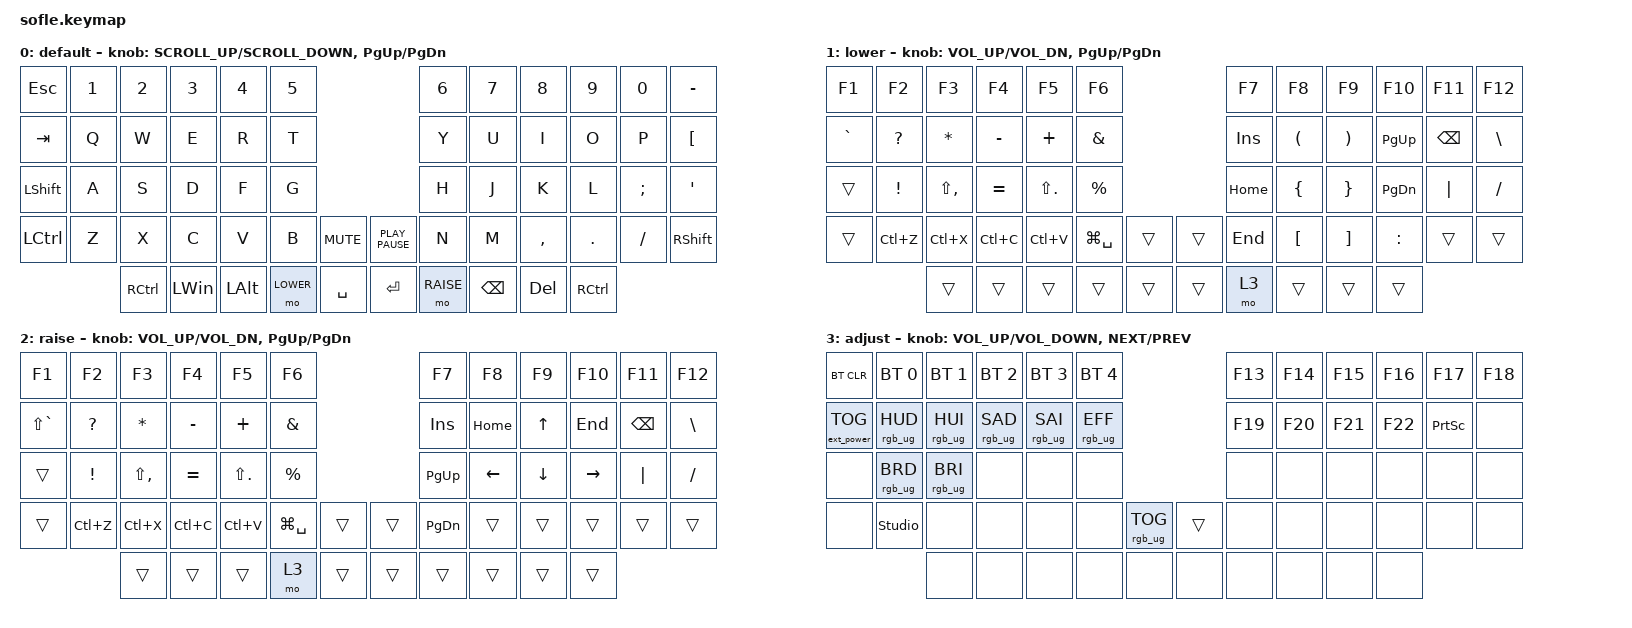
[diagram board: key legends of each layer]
/*
 * Copyright (c) 2020 The ZMK Contributors
 *
 * SPDX-License-Identifier: MIT
 */

#include <behaviors.dtsi>
#include <dt-bindings/zmk/bt.h>
#include <dt-bindings/zmk/ext_power.h>
#include <dt-bindings/zmk/keys.h>
#include <dt-bindings/zmk/rgb.h>

#define BASE 0
#define LOWER 1
#define RAISE 2
#define ADJUST 3

/ {
    // Activate ADJUST layer by pressing raise and lower

    conditional_layers {
        compatible = "zmk,conditional-layers";

        adjust_layer {
            if-layers = <LOWER RAISE>;
            then-layer = <ADJUST>;
        };
    };

    keymap {
        compatible = "zmk,keymap";

        default_layer {
            display-name = "default";

            // ------------------------------------------------------------------------------------------------------------
            // |   `   |  1  |  2  |  3   |  4   |  5   |                   |  6   |  7    |  8    |  9   |   0   |       |
            // |  ESC  |  Q  |  W  |  E   |  R   |  T   |                   |  Y   |  U    |  I    |  O   |   P   | BKSPC |
            // |  TAB  |  A  |  S  |  D   |  F   |  G   |                   |  H   |  J    |  K    |  L   |   ;   |   '   |
            // | SHIFT |  Z  |  X  |  C   |  V   |  B   |  MUTE  |  |       |  N   |  M    |  ,    |  .   |   /   | SHIFT |
            //               | GUI | ALT  | CTRL | LOWER|  ENTER |  | SPACE | RAISE| CTRL  | ALT   | GUI  |

            bindings = <
&kp ESCAPE      &kp N1  &kp N2     &kp N3        &kp N4    &kp N5                                     &kp N6     &kp N7         &kp N8      &kp N9             &kp N0    &kp MINUS
&kp TAB         &kp Q   &kp W      &kp E         &kp R     &kp T                                      &kp Y      &kp U          &kp I       &kp O              &kp P     &kp LEFT_BRACKET
&kp LEFT_SHIFT  &kp A   &kp S      &kp D         &kp F     &kp G                                      &kp H      &kp J          &kp K       &kp L              &kp SEMI  &kp SQT
&kp LCTRL       &kp Z   &kp X      &kp C         &kp V     &kp B      &kp C_MUTE    &kp K_PLAY_PAUSE  &kp N      &kp M          &kp COMMA   &kp DOT            &kp FSLH  &kp RSHFT
                        &kp RCTRL  &kp LEFT_WIN  &kp LALT  &mo LOWER  &kp SPACE     &kp ENTER         &mo RAISE  &kp BACKSPACE  &kp DELETE  &kp RIGHT_CONTROL
            >;

            sensor-bindings =
                <&inc_dec_kp K_SCROLL_UP K_SCROLL_DOWN>,
                <&inc_dec_kp PG_UP PG_DN>;
        };

        lower_layer {
            display-name = "lower";

            // TODO: Some binds are waiting for shifted keycode support.
            // ------------------------------------------------------------------------------------------------------------
            // |       |  F1 |  F2 |  F3  |  F4  |  F5  |                   |  F6  |  F7   |  F8   |  F9  |  F10  |  F11  |
            // |   `   |  1  |  2  |  3   |  4   |  5   |                   |  6   |  7    |  8    |  9   |   0   |  F12  |
            // |       |  !  |  @  |  #   |  $   |  %   |                   |  ^   |  &    |  *    |  (   |   )   |   |   |
            // |       |  =  |  -  |  +   |  {   |  }   |        |  |       |  [   |  ]    |  ;    |  :   |   \   |       |
            //               |     |      |      |      |        |  |       |      |       |       |      |

            bindings = <
&kp F1     &kp F2        &kp F3         &kp F4     &kp F5       &kp F6                           &kp F7      &kp F8          &kp F9    &kp F10        &kp F11        &kp F12
&kp GRAVE  &kp QUESTION  &kp ASTRK      &kp MINUS  &kp PLUS     &kp AMPERSAND                    &kp INSERT  &kp LPAR        &kp RPAR  &kp PAGE_UP    &kp BACKSPACE  &kp BSLH
&trans     &kp EXCL      &kp LS(COMMA)  &kp EQUAL  &kp LS(DOT)  &kp PRCNT                        &kp HOME    &kp LEFT_BRACE  &kp RBRC  &kp PAGE_DOWN  &kp PIPE       &kp SLASH
&trans     &kp LC(Z)     &kp LC(X)      &kp LC(C)  &kp LC(V)    &kp LG(SPACE)  &trans    &trans  &kp END     &kp LBKT        &kp RBKT  &kp COLON      &trans         &trans
                         &trans         &trans     &trans       &trans         &trans    &trans  &mo 3       &trans          &trans    &trans
            >;

            sensor-bindings = <&inc_dec_kp C_VOL_UP C_VOL_DN &inc_dec_kp PG_UP PG_DN>;
        };

        raise_layer {
            display-name = "raise";

            // ------------------------------------------------------------------------------------------------------------
            // | BTCLR | BT1  | BT2  |  BT3  |  BT4  |  BT5 |                |      |      |       |      |       |       |
            // |       | INS  | PSCR | GUI   |       |      |                | PGUP |      |   ^   |      |       |       |
            // |       | ALT  | CTRL | SHIFT |       | CAPS |                | PGDN |   <- |   v   |  ->  |  DEL  | BKSPC |
            // |       | UNDO | CUT  | COPY  | PASTE |      |      |  |      |      |      |       |      |       |       |
            //                |      |       |       |      |      |  |      |      |      |       |      |

            bindings = <
&kp F1         &kp F2           &kp F3         &kp F4     &kp F5       &kp F6                           &kp F7         &kp F8    &kp F9    &kp F10    &kp F11        &kp F12
&kp LS(GRAVE)  &kp QUESTION     &kp ASTRK      &kp MINUS  &kp PLUS     &kp AMPERSAND                    &kp INS        &kp HOME  &kp UP    &kp END    &kp BACKSPACE  &kp BACKSLASH
&trans         &kp EXCLAMATION  &kp LS(COMMA)  &kp EQUAL  &kp LS(DOT)  &kp PERCENT                      &kp PAGE_UP    &kp LEFT  &kp DOWN  &kp RIGHT  &kp PIPE       &kp SLASH
&trans         &kp LC(Z)        &kp LC(X)      &kp LC(C)  &kp LC(V)    &kp LG(SPACE)  &trans    &trans  &kp PAGE_DOWN  &trans    &trans    &trans     &trans         &trans
                                &trans         &trans     &trans       &mo 3          &trans    &trans  &trans         &trans    &trans    &trans
            >;

            sensor-bindings = <&inc_dec_kp C_VOL_UP C_VOL_DN &inc_dec_kp PG_UP PG_DN>;
        };

        adjust_layer {
            // ----------------------------------------------------------------------------------------------------------------------------
            // | BTCLR  |  BT1    |  BT2    |   BT3   |   BT4   |   BT5   |                  |      |      |       |      |       |       |
            // | EXTPWR | RGB_HUD | RGB_HUI | RGB_SAD | RGB_SAI | RGB_EFF |                  |      |      |       |      |       |       |
            // |        | RGB_BRD | RGB_BRI |         |         |         |                  |      |      |       |      |       |       |
            // |        |         |         |         |         |         | RGB_TOG | |      |      |      |       |      |       |       |
            //                    |         |         |         |         |         | |      |      |      |       |      |

            display-name = "adjust";
            bindings = <
&bt BT_CLR         &bt BT_SEL 0     &bt BT_SEL 1     &bt BT_SEL 2     &bt BT_SEL 3     &bt BT_SEL 4                                &kp F13  &kp F14  &kp F15  &kp F16  &kp F17          &kp F18
&ext_power EP_TOG  &rgb_ug RGB_HUD  &rgb_ug RGB_HUI  &rgb_ug RGB_SAD  &rgb_ug RGB_SAI  &rgb_ug RGB_EFF                             &kp F19  &kp F20  &kp F21  &kp F22  &kp PRINTSCREEN  &none
&none              &rgb_ug RGB_BRD  &rgb_ug RGB_BRI  &none            &none            &none                                       &none    &none    &none    &none    &none            &none
&none              &studio_unlock   &none            &none            &none            &none            &rgb_ug RGB_TOG    &trans  &none    &none    &none    &none    &none            &none
                                    &none            &none            &none            &none            &none              &none   &none    &none    &none    &none
            >;

            sensor-bindings =
                <&inc_dec_kp C_VOLUME_UP C_VOLUME_DOWN>,
                <&inc_dec_kp C_NEXT K_PREV>;
        };
    };
};
